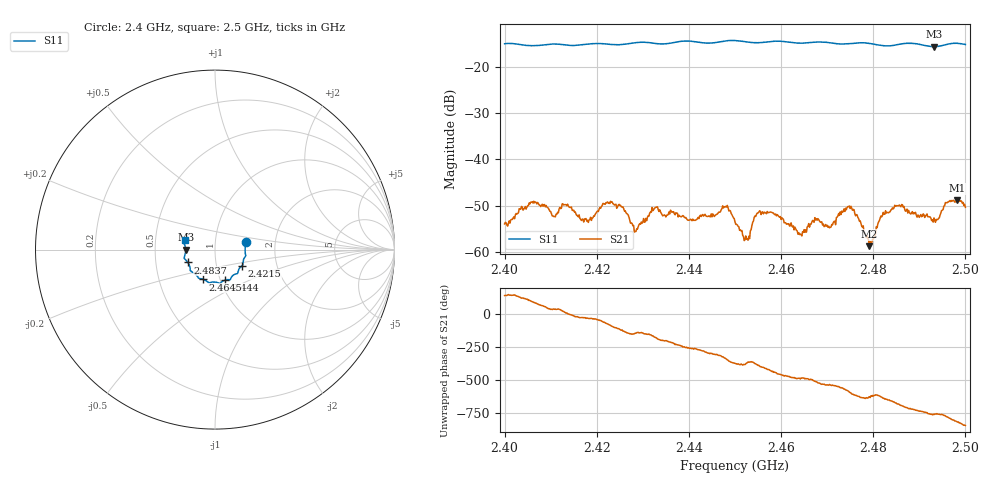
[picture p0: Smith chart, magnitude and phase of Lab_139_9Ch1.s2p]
# Hz S RI R 50
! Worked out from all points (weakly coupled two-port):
!   601 points, 2.4 GHz to 2.5 GHz, reference 50 ohm
!   highest |S21| = -48.85 dB at 2.4982 GHz (marker M1); lowest = -58.7 dB at 2.4792 GHz (marker M2)
!   lowest |S11| = -15.7 dB at 2.4932 GHz (marker M3), VSWR 1.39, Z = 36 - j0.0568 ohm
!   |S11| at or under -10 dB: start of sweep to end of sweep
!   S12 and S22 are empty: the file has one direction only
!   S11 on the Smith chart (normalised r, x): 2.4 GHz: 1.41, +0.12; 2.4215 GHz: 1.33, -0.25; 2.444 GHz: 1.06, -0.37; 2.4645 GHz: 0.83, -0.29; 2.4837 GHz: 0.73, -0.11; 2.5 GHz: 0.71, +0.07
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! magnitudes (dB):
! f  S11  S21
! 2.4 GHz  -15.1  -53.9
! 2.4062 GHz  -15.5  -49.5
! 2.4167 GHz  -15.3  -53.2
! 2.4215 GHz  -15.1  -49.6
! 2.4253 GHz  -15.3  -50.3
! 2.4285 GHz  -14.9  -55.6
! 2.4333 GHz  -15.1  -50.9
! 2.444 GHz  -15.0  -52.3
! 2.4478 GHz  -14.5  -50.3
! 2.45 GHz  -14.4  -53.5
! 2.4523 GHz  -14.7  -56.5
! 2.4555 GHz  -14.8  -51.2
! 2.4645 GHz  -15.0  -56.5
! 2.4667 GHz  -14.8  -53.6
! 2.4707 GHz  -14.9  -54.7
! 2.4748 GHz  -15.1  -50.1
! 2.4792 GHz  -15.0  -58.7
! 2.4833 GHz  -15.6  -51.6
! 2.4837 GHz  -15.5  -51.3
! 2.4932 GHz  -15.7  -52.7
! 2.4982 GHz  -15.0  -48.9
! 2.5 GHz  -15.3  -50.4
